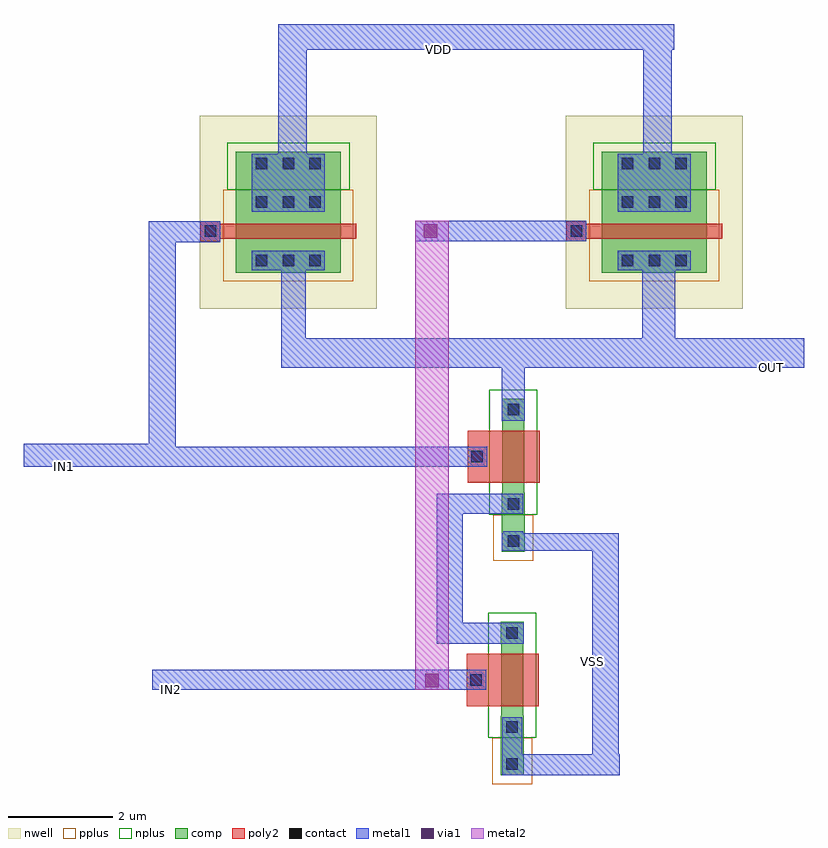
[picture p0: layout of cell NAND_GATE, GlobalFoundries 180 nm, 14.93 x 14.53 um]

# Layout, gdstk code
from math import pi, radians
import gdstk
lib = gdstk.Library(unit=1e-6, precision=5e-09)
def R(c, l, rs):  # rectangles x0, y0, x1, y1
    for r in rs: c.add(gdstk.rectangle(r[:2], r[2:], *l))
def A(c, l, x, y, w, h, nx, ny, dx, dy):  # array of equal rectangles
    R(c, l, [(x+i*dx, y+j*dy, x+i*dx+w, y+j*dy+h) for i in range(nx) for j in range(ny)])
nwell = (21, 0)
comp = (22, 0)
poly2 = (30, 0)
pplus = (31, 0)
nplus = (32, 0)
contact = (33, 0)
metal1 = (34, 0)
via1 = (35, 0)
metal2 = (36, 0)

nfet = lib.new_cell('nfet')
R(nfet, comp, [(-0.42,-0.01,0,0.43), (1.38,-0.01,1.8,0.43), (1.8,-0.01,2.51,0.43), (0,0,1.38,0.42)])
R(nfet, poly2, [(0.19,-0.66,1.19,-0.3), (0.19,-0.3,1.19,0.72)])
R(nfet, pplus, [(1.8,-0.17,2.68,0.59)])
R(nfet, nplus, [(-0.59,-0.25,1.8,0.67)])
R(nfet, contact, [(0.58,-0.59,0.8,-0.37), (-0.32,0.1,-0.1,0.32), (1.48,0.1,1.7,0.32), (2.19,0.1,2.41,0.32)])
R(nfet, metal1, [(0.5,-0.67,0.88,-0.29), (-0.4,0.02,-0.02,0.4), (1.4,0.02,1.78,0.4), (2.11,0.02,2.49,0.4)])

pfet = lib.new_cell('pfet')
R(pfet, nwell, [(-1.15,-0.69,2.54,2.69)])
R(pfet, comp, [(-0.46,0,0,2), (0,0,0.66,2), (0.66,0,1.12,2), (1.12,0,1.85,2)])
R(pfet, poly2, [(0.19,-0.3,0.47,2.3), (0.14,2.3,0.52,2.68)])
R(pfet, pplus, [(-0.63,-0.24,1.12,2.24)])
R(pfet, nplus, [(1.12,-0.17,2.02,2.17)])
A(pfet, contact, -0.34, 0.38, 0.22, 0.22, 1, 3, 0, 0.51)
A(pfet, contact, 0.78, 0.38, 0.22, 0.22, 1, 3, 0, 0.51)
A(pfet, contact, 1.51, 0.38, 0.22, 0.22, 1, 3, 0, 0.51)
R(pfet, contact, [(0.22,2.38,0.44,2.6)])
R(pfet, metal1, [(-0.42,0.3,-0.04,1.7), (0.7,0.3,1.08,1.7), (1.43,0.3,1.81,1.7), (0.14,2.3,0.52,2.68)])

nand_gate = lib.new_cell('NAND_GATE')
R(nand_gate, metal1, [(-0.255,-1.325,1.985,-0.925), (1.46,-1.325,1.975,3.295), (-0.255,-1.305,0.125,-0.215), (-6.945,0.305,-0.565,0.685), (-1.505,1.185,-1.01,4.05), (-1.49,1.185,0.155,1.585), (-0.265,2.96,1.975,3.295), (-1.505,3.67,0.145,4.05), (-9.405,4.57,-6.495,5.005), (-7.01,4.57,-0.545,4.95), (-7.01,4.57,-6.495,9.255), (-0.265,5.45,0.175,7.02), (-4.48,6.465,-4.01,8.7), (-4.48,6.465,3.05,7.02), (3.05,6.465,5.52,7.02), (2.415,6.5,3.05,8.545), (-7.01,8.86,-5.645,9.26), (-1.92,8.88,1.35,9.27), (-5.045,9.44,-3.645,10.55), (1.95,9.44,3.35,10.55), (-4.535,10.17,-3.995,13.03), (2.44,10.17,2.98,13.03), (-4.535,12.54,3.035,13.03)])
R(nand_gate, via1, [(-1.725,0.355,-1.465,0.615), (-1.76,8.945,-1.5,9.205)])
R(nand_gate, metal2, [(-1.92,0.305,-1.28,9.27)])
nand_gate.add(gdstk.Reference(nfet, (-0.275,1.185), rotation=3*pi/2))
nand_gate.add(gdstk.Reference(nfet, (-0.255,5.45), rotation=3*pi/2))
nand_gate.add(gdstk.Reference(pfet, (-3.345,8.74), rotation=pi/2))
nand_gate.add(gdstk.Reference(pfet, (3.65,8.74), rotation=pi/2))
nand_gate.add(gdstk.Label('VSS', (1.46,0.84), layer=34, texttype=10))
nand_gate.add(gdstk.Label('IN2', (-6.58,0.305), layer=34, texttype=10))
nand_gate.add(gdstk.Label('IN1', (-8.615,4.57), layer=34, texttype=10))
nand_gate.add(gdstk.Label('VDD', (-1.48,12.54), layer=34, texttype=10))
nand_gate.add(gdstk.Label('OUT', (4.885,6.465), layer=34, texttype=10))

lib.write_gds('NAND_GATE.gds')
